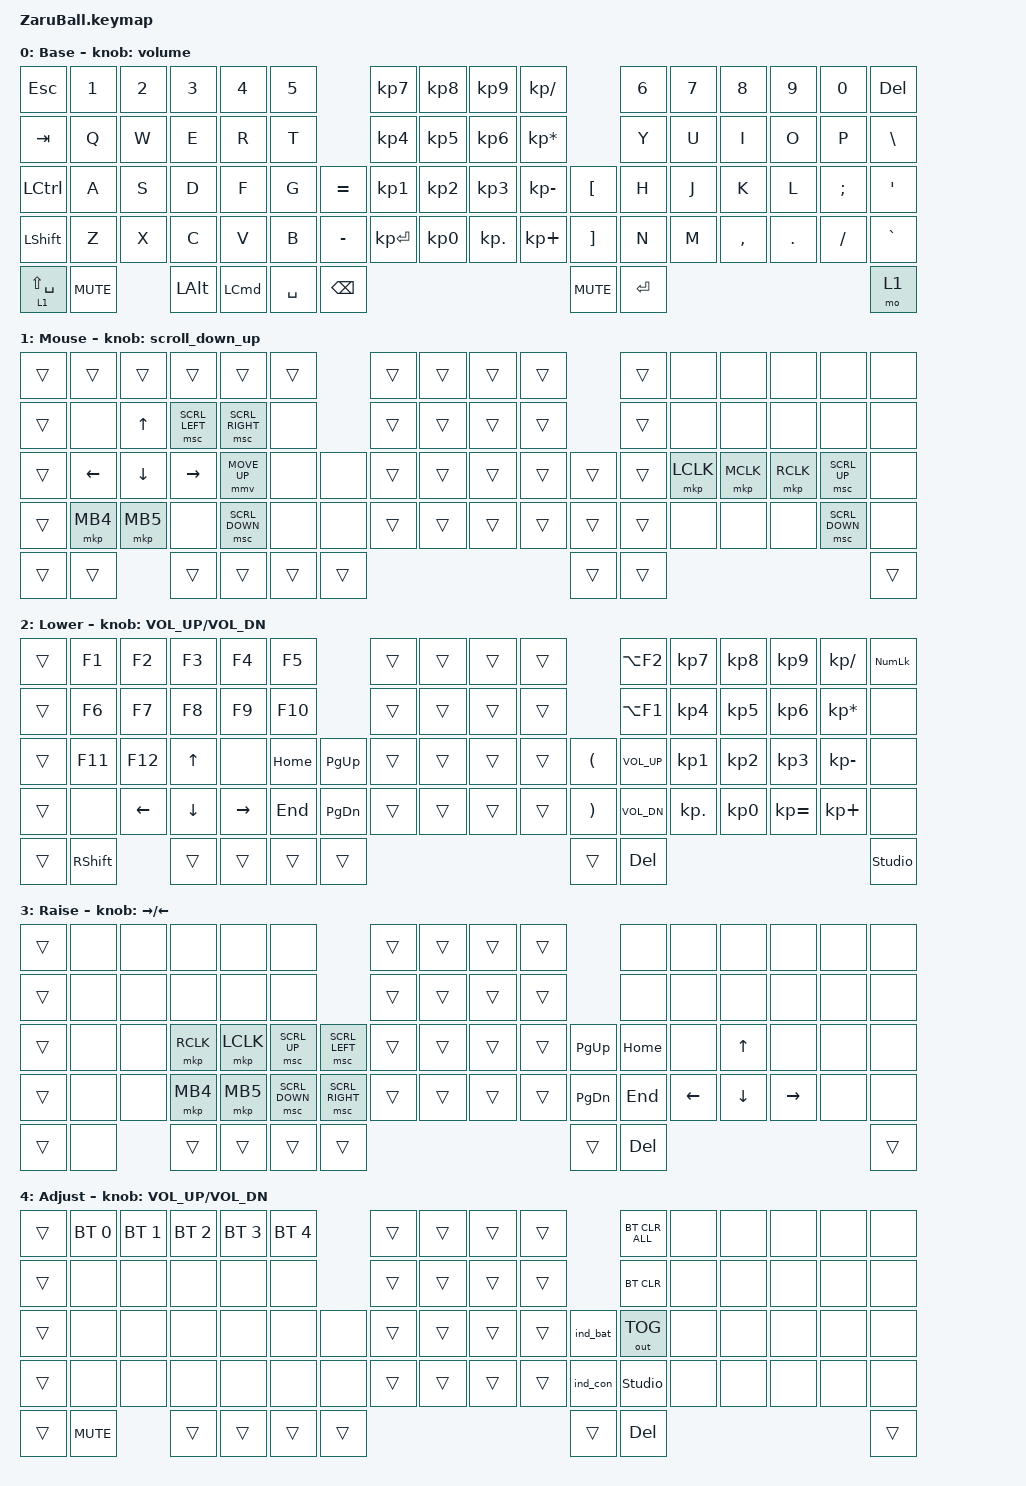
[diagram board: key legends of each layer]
//#include <dt-bindings/zmk/mouse.h>

#include <behaviors/rgbled_widget.dtsi>
#include <behaviors/naginata.dtsi>
#include <behaviors.dtsi>
#include <dt-bindings/zmk/bt.h>
#include <dt-bindings/zmk/keys.h>
#include <dt-bindings/zmk/outputs.h>
#include <dt-bindings/zmk/pointing.h>

#define BASE     0
#define MOUSE    1
#define LOWER    2
#define RAISE    3
#define ADJUST   4
#define SCROLL   2

// スクロール量の設定

#define ZMK_POINTING_DEFAULT_SCRL_VAL 100

/ {
    conditional_layers {
        compatible = "zmk,conditional-layers";

        tri_layer {
            if-layers = <2 3>;
            then-layer = <4>;
        };
    };
};

/ {
    behaviors {
        // スクロール用のbehaviorの設定

        scroll_down_up: behavior_sensor_rotate_mouse_wheel_down_up {
            compatible = "zmk,behavior-sensor-rotate";
            #sensor-binding-cells = <0>;
            bindings = <&msc SCRL_DOWN>, <&msc SCRL_UP>;

            tap-ms = <20>; // スクロールのタップ時間
        };

        td0: tap_dance_0 {
            compatible = "zmk,behavior-tap-dance";
            #binding-cells = <0>;
            tapping-term-ms = <200>;
            bindings = <&mt LALT LANG2>, <&mo RAISE>, <&mo MOUSE>;
        };

        td1: tap_dance_1 {
            compatible = "zmk,behavior-tap-dance";
            #binding-cells = <0>;
            tapping-term-ms = <200>;
            bindings = <&mt RCTL LANG1>, <&mo RAISE>, <&mo MOUSE>;
        };

        // Customed Hold-Tap for SandS

        SandS: SandS {
            compatible = "zmk,behavior-hold-tap";
            #binding-cells = <2>;
            flavor = "tap-unless-interrupted";
            tapping-term-ms = <500>;
            quick-tap-ms = <500>;
            bindings = <&kp>, <&kp>;

            display-name = "SandS";
        };

        volume: volume {
            compatible = "zmk,behavior-sensor-rotate";
            label = "VOLUME";
            #sensor-binding-cells = <0>;
            bindings = <&kp C_VOLUME_DOWN>, <&kp C_VOLUME_UP>;

            tap-ms = <20>;
        };
    };
};

&sl { release-after-ms = <250>; }; // time needed for double click (for mkp_exit_AML)
/ {
    macros {
        // When in AML, move to default layer when key (except mouse button) pressed

        to_layer_0: to_layer_0 {
            compatible = "zmk,behavior-macro-one-param";
            #binding-cells = <1>;
            bindings = <&tog MOUSE &macro_param_1to1 &kp MACRO_PLACEHOLDER>;
            label = "TO_layer_0";
        };

        // When LCLK pressed, exit AML (after 250ms cause by sticky layer

        mkp_exit_AML: mkp_exit_AML {
            compatible = "zmk,behavior-macro-one-param";
            #binding-cells = <1>;
            bindings =
                <&macro_press>,
                <&macro_param_1to1 &mkp MACRO_PLACEHOLDER>,
                <&macro_pause_for_release>,
                <&macro_release>,
                <&macro_param_1to1 &mkp MACRO_PLACEHOLDER>,
                <&macro_tap>,
                <&sl MOUSE>;

            label = "MKP_EXIT_AML";
        };

        ime: imej {
            compatible = "zmk,behavior-macro";
            #binding-cells = <0>;
            bindings = <&kp LCTRL &kp SPACE>;
            label = "IMEJ";
            tap-ms = <50>;
        };
    };
};

/ {
    keymap {
        compatible = "zmk,keymap";

        base_layer {
            display-name = "Base";
            sensor-bindings = <&volume>;
            bindings = <
&kp ESC           &kp N1      &kp N2  &kp N3        &kp N4            &kp N5                      &kp KP_N7     &kp KP_N8  &kp KP_N9   &kp KP_DIVIDE                  &kp NUMBER_6  &kp N7  &kp N8     &kp N9   &kp N0    &kp DELETE
&kp TAB           &kp Q       &kp W   &kp E         &kp R             &kp T                       &kp KP_N4     &kp KP_N5  &kp KP_N6   &kp KP_MULTIPLY                &kp Y         &kp U   &kp I      &kp O    &kp P     &kp BACKSLASH
&kp LEFT_CONTROL  &kp A       &kp S   &kp D         &kp F             &kp G      &kp EQUAL        &kp KP_N1     &kp KP_N2  &kp KP_N3   &kp KP_MINUS       &kp LBKT    &kp H         &kp J   &kp K      &kp L    &kp SEMI  &kp SQT
&kp LSHFT         &kp Z       &kp X   &kp C         &kp V             &kp B      &kp MINUS        &kp KP_ENTER  &kp KP_N0  &kp KP_DOT  &kp KP_PLUS        &kp RBKT    &kp N         &kp M   &kp COMMA  &kp DOT  &kp FSLH  &kp GRAVE
&lt 1 LS(SPACE)   &kp C_MUTE          &kp LEFT_ALT  &kp LEFT_COMMAND  &kp SPACE  &kp BACKSPACE                                                            &kp K_MUTE  &kp ENTER                                           &mo 1
            >;
        };

        mouse_layer {
            display-name = "Mouse";
            sensor-bindings = <&scroll_down_up>;
            bindings = <
&trans  &trans    &trans        &trans          &trans           &trans            &trans  &trans  &trans  &trans            &trans  &none      &none      &none      &none           &none
&trans  &none     &kp UP_ARROW  &msc SCRL_LEFT  &msc SCRL_RIGHT  &none             &trans  &trans  &trans  &trans            &trans  &none      &none      &none      &none           &none
&trans  &kp LEFT  &kp DOWN      &kp RIGHT       &mmv MOVE_UP     &none   &none     &trans  &trans  &trans  &trans    &trans  &trans  &mkp LCLK  &mkp MCLK  &mkp RCLK  &msc SCRL_UP    &none
&trans  &mkp MB4  &mkp MB5      &none           &msc SCRL_DOWN   &none   &none     &trans  &trans  &trans  &trans    &trans  &trans  &none      &none      &none      &msc SCRL_DOWN  &none
&trans  &trans                  &trans          &trans           &trans  &trans                                      &trans  &trans                                                   &trans
            >;
        };

        lower_layer {
            display-name = "Lower";
            sensor-bindings = <&inc_dec_kp C_VOL_UP C_VOL_DN>;
            bindings = <
&trans  &kp F1     &kp F2    &kp F3    &kp F4     &kp F5                 &trans  &trans  &trans  &trans              &kp LA(F2)    &kp KP_N7   &kp KP_N8  &kp KP_N9     &kp KP_SLASH     &kp KP_NUMLOCK
&trans  &kp F6     &kp F7    &kp F8    &kp F9     &kp F10                &trans  &trans  &trans  &trans              &kp LA(F1)    &kp KP_N4   &kp KP_N5  &kp KP_N6     &kp KP_MULTIPLY  &none
&trans  &kp F11    &kp F12   &kp UP    &none      &kp HOME  &kp PG_UP    &trans  &trans  &trans  &trans    &kp LPAR  &kp C_VOL_UP  &kp KP_N1   &kp KP_N2  &kp KP_N3     &kp KP_MINUS     &none
&trans  &none      &kp LEFT  &kp DOWN  &kp RIGHT  &kp END   &kp PG_DN    &trans  &trans  &trans  &trans    &kp RPAR  &kp C_VOL_DN  &kp KP_DOT  &kp KP_N0  &kp KP_EQUAL  &kp KP_PLUS      &none
&trans  &kp RSHFT            &trans    &trans     &trans    &trans                                         &trans    &kp DEL                                                             &studio_unlock
            >;
        };

        raise_layer {
            display-name = "Raise";
            sensor-bindings = <&inc_dec_kp RIGHT LEFT>;
            bindings = <
&trans  &none  &none  &none      &none      &none                              &trans  &trans  &trans  &trans               &none     &none     &none     &none      &none  &none
&trans  &none  &none  &none      &none      &none                              &trans  &trans  &trans  &trans               &none     &none     &none     &none      &none  &none
&trans  &none  &none  &mkp RCLK  &mkp LCLK  &msc SCRL_UP    &msc SCRL_LEFT     &trans  &trans  &trans  &trans    &kp PG_UP  &kp HOME  &none     &kp UP    &none      &none  &none
&trans  &none  &none  &mkp MB4   &mkp MB5   &msc SCRL_DOWN  &msc SCRL_RIGHT    &trans  &trans  &trans  &trans    &kp PG_DN  &kp END   &kp LEFT  &kp DOWN  &kp RIGHT  &none  &none
&trans  &none         &trans     &trans     &trans          &trans                                               &trans     &kp DEL                                         &trans
            >;
        };

        adjust_layer {
            display-name = "Adjust";
            sensor-bindings = <&inc_dec_kp C_VOL_UP C_VOL_DN>;
            bindings = <
&trans  &bt BT_SEL 0  &bt BT_SEL 1  &bt BT_SEL 2  &bt BT_SEL 3  &bt BT_SEL 4            &trans  &trans  &trans  &trans              &bt BT_CLR_ALL  &none  &none  &none  &none  &none
&trans  &none         &none         &none         &none         &none                   &trans  &trans  &trans  &trans              &bt BT_CLR      &none  &none  &none  &none  &none
&trans  &none         &none         &none         &none         &none         &none     &trans  &trans  &trans  &trans    &ind_bat  &out OUT_TOG    &none  &none  &none  &none  &none
&trans  &none         &none         &none         &none         &none         &none     &trans  &trans  &trans  &trans    &ind_con  &studio_unlock  &none  &none  &none  &none  &none
&trans  &kp C_MUTE                  &trans        &trans        &trans        &trans                                      &trans    &kp DEL                                     &trans
            >;
        };

        // Extra layer can be added in ZMK STUDIO

        extra1 { status = "reserved"; };

        extra2 { status = "reserved"; };
    };
};
